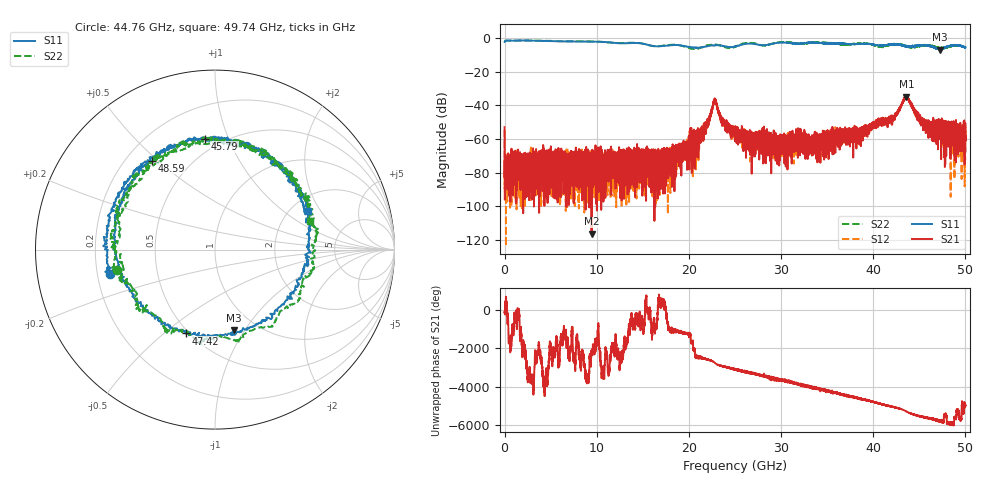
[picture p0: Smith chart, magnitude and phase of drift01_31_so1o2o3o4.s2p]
!Created with skrf (http://scikit-rf.org).
# Hz S RI R 50.0
!freq ReS11 ImS11 ReS21 ImS21 ReS12 ImS12 ReS22 ImS22
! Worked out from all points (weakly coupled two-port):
!   10001 points, 300 kHz to 50 GHz, reference 50 ohm
!   highest |S21| = -34.79 dB at 43.61 GHz (marker M1); lowest = -116.3 dB at 9.435 GHz (marker M2)
!   lowest |S11| = -6.7 dB at 47.2 GHz (marker M3), VSWR 2.71, Z = 39.4 - j44.8 ohm
!   |S11| at or under -10 dB: nowhere
!   |S22| runs from -6.4 to -1.4 dB; largest |S21 - S12| = 0.004
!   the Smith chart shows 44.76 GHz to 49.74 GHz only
!   S11 on the Smith chart (normalised r, x): 44.76 GHz: 0.25, -0.11; 45.79 GHz: 0.41, +0.83; 47.42 GHz: 0.48, -0.59; 48.59 GHz: 0.30, +0.48; 49.74 GHz: 2.46, +1.55
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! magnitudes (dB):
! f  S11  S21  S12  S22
! 300 kHz  -2.2  -52.9  -54.8  -2.1
! 275.3 MHz  -1.4  -78.3  -77.6  -1.4
! 8.335 GHz  -1.9  -74.3  -88.9  -1.8
! 9.435 GHz  -2.1  -116.3  -75.6  -1.9
! 16.67 GHz  -4.8  -65.8  -71.5  -4.8
! 20.63 GHz  -5.6  -57.9  -62.1  -6.3
! 21.73 GHz  -5.1  -50.1  -54.3  -4.8
! 22.8 GHz  -4.3  -35.8  -36.3  -4.0
! 23.65 GHz  -4.6  -47.3  -50.3  -4.8
! 25 GHz  -5.0  -55.2  -58.0  -5.1
! 29.52 GHz  -2.8  -60.7  -60.3  -2.7
! 33.34 GHz  -2.6  -59.3  -64.2  -2.6
! 38.53 GHz  -3.4  -56.4  -58.1  -3.1
! 41.67 GHz  -3.9  -50.6  -50.1  -4.4
! 43.61 GHz  -4.7  -34.8  -35.3  -4.8
! 44.76 GHz  -4.4  -45.3  -44.0  -5.1
! 45.79 GHz  -4.2  -53.9  -53.4  -4.2
! 47.2 GHz  -6.7  -56.2  -54.7  -6.0
! 47.42 GHz  -6.1  -57.2  -55.9  -5.5
! 48.59 GHz  -4.3  -55.4  -61.1  -4.6
! 49.74 GHz  -5.0  -62.4  -57.4  -5.1
! 50 GHz  -5.5  -58.1  -55.8  -5.3
